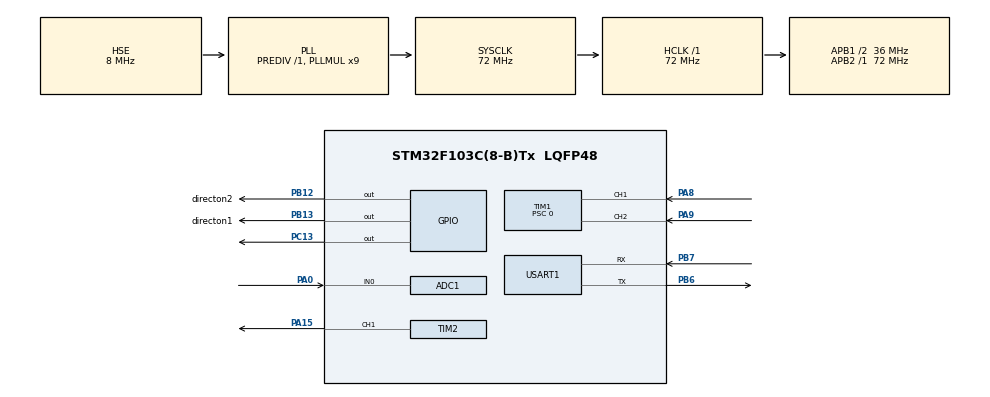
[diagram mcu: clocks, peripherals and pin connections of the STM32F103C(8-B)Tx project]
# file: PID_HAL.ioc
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ADC1.Channel-0\#ChannelRegularConversion=ADC_CHANNEL_0
ADC1.ContinuousConvMode=ENABLE
ADC1.NbrOfConversionFlag=1
ADC1.Rank-0\#ChannelRegularConversion=1
ADC1.SamplingTime-0\#ChannelRegularConversion=ADC_SAMPLETIME_7CYCLES_5
ADC1.master=1
Dma.ADC1.0.Direction=DMA_PERIPH_TO_MEMORY
Dma.ADC1.0.Instance=DMA1_Channel1
Dma.ADC1.0.MemDataAlignment=DMA_MDATAALIGN_HALFWORD
Dma.ADC1.0.MemInc=DMA_MINC_ENABLE
Dma.ADC1.0.Mode=DMA_CIRCULAR
Dma.ADC1.0.PeriphDataAlignment=DMA_PDATAALIGN_HALFWORD
Dma.ADC1.0.PeriphInc=DMA_PINC_DISABLE
Dma.ADC1.0.Priority=DMA_PRIORITY_LOW
Dma.Request0=ADC1
Dma.Request1=USART1_TX
Dma.USART1_TX.1.Direction=DMA_MEMORY_TO_PERIPH
Dma.USART1_TX.1.Instance=DMA1_Channel4
Dma.USART1_TX.1.MemDataAlignment=DMA_MDATAALIGN_BYTE
Dma.USART1_TX.1.MemInc=DMA_MINC_ENABLE
Dma.USART1_TX.1.Mode=DMA_NORMAL
Dma.USART1_TX.1.PeriphDataAlignment=DMA_PDATAALIGN_BYTE
Dma.USART1_TX.1.PeriphInc=DMA_PINC_DISABLE
Dma.USART1_TX.1.Priority=DMA_PRIORITY_LOW
Mcu.Family=STM32F1
Mcu.Name=STM32F103C(8-B)Tx
Mcu.Package=LQFP48
NVIC.DMA1_Channel4_IRQn=true\:0\:0\:false\:false\:true\:true\:true\:true
NVIC.PriorityGroup=NVIC_PRIORITYGROUP_4
NVIC.TIM2_IRQn=true\:0\:0\:false\:false\:true\:true\:true\:true
NVIC.TIM3_IRQn=true\:0\:0\:false\:false\:true\:true\:true\:true
NVIC.USART1_IRQn=true\:0\:0\:false\:false\:true\:true\:true\:true
PA0-WKUP.Signal=ADCx_IN0
PA13.Mode=Serial_Wire
PA13.Signal=SYS_JTMS-SWDIO
PA14.Mode=Serial_Wire
PA14.Signal=SYS_JTCK-SWCLK
PA15.Signal=S_TIM2_CH1_ETR
PA8.Signal=S_TIM1_CH1
PA9.Signal=S_TIM1_CH2
PB12.GPIO_Label=directon2
PB12.GPIO_PuPd=GPIO_PULLDOWN
PB12.Signal=GPIO_Output
PB13.GPIO_Label=directon1
PB13.GPIO_PuPd=GPIO_PULLDOWN
PB13.Signal=GPIO_Output
PB6.Mode=Asynchronous
PB6.Signal=USART1_TX
PB7.Mode=Asynchronous
PB7.Signal=USART1_RX
PC13-TAMPER-RTC.Signal=GPIO_Output
PD0-OSC_IN.Mode=HSE-External-Oscillator
PD0-OSC_IN.Signal=RCC_OSC_IN
PD1-OSC_OUT.Mode=HSE-External-Oscillator
PD1-OSC_OUT.Signal=RCC_OSC_OUT
ProjectManager.HeapSize=0x200
ProjectManager.StackSize=0x400
ProjectManager.TargetToolchain=MDK-ARM V5.32
RCC.ADCPresc=RCC_ADCPCLK2_DIV6
RCC.AHBFreq_Value=72000000
RCC.APB1CLKDivider=RCC_HCLK_DIV2
RCC.APB1Freq_Value=36000000
RCC.APB1TimFreq_Value=72000000
RCC.APB2Freq_Value=72000000
RCC.APB2TimFreq_Value=72000000
RCC.HCLKFreq_Value=72000000
RCC.PLLMUL=RCC_PLL_MUL9
RCC.PLLSourceVirtual=RCC_PLLSOURCE_HSE
RCC.SYSCLKFreq_VALUE=72000000
RCC.SYSCLKSource=RCC_SYSCLKSOURCE_PLLCLK
RCC.USBFreq_Value=72000000
SH.ADCx_IN0.0=ADC1_IN0,IN0
SH.S_TIM1_CH1.0=TIM1_CH1,Encoder_Interface
SH.S_TIM1_CH2.0=TIM1_CH2,Encoder_Interface
SH.S_TIM2_CH1_ETR.0=TIM2_CH1,PWM Generation1 CH1
TIM1.EncoderMode=TIM_ENCODERMODE_TI12
TIM1.Period=65535
TIM1.Prescaler=0
TIM2.AutoReloadPreload=TIM_AUTORELOAD_PRELOAD_ENABLE
TIM2.Channel-PWM\ Generation1\ CH1=TIM_CHANNEL_1
TIM2.Period=100-1
TIM2.Prescaler=72-1
TIM2.Pulse-PWM\ Generation1\ CH1=30-1
TIM3.Period=1000-1
TIM3.Prescaler=720-1
USART1.VirtualMode=VM_ASYNC
VP_TIM2_VS_ClockSourceINT.Mode=Internal
VP_TIM3_VS_ClockSourceINT.Mode=Internal
board=custom

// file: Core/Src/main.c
/* USER CODE BEGIN Header */
/**
  ******************************************************************************
  * @file           : main.c
  * @brief          : Main program body
  ******************************************************************************
  * @attention
  *
  * Copyright (c) 2026 STMicroelectronics.
  * All rights reserved.
  *
  * This software is licensed under terms that can be found in the LICENSE file
  * in the root directory of this software component.
  * If no LICENSE file comes with this software, it is provided AS-IS.
  *
  ******************************************************************************
  */
/* USER CODE END Header */
#include "main.h"
#include "adc.h"
#include "dma.h"
#include "tim.h"
#include "usart.h"
#include "gpio.h"

/* USER CODE BEGIN Includes */
#include "stdio.h"
#include "math.h"
/* USER CODE END Includes */

/* USER CODE BEGIN PD */
#define a 0.7
#define middle angle 170
/* USER CODE END PD */

/* USER CODE BEGIN PV */
int16_t moter_speed = 0;
uint8_t num = 0;
uint16_t ADC_value = 0;
uint16_t angle = 0;
//float target,actual,out;
//float kp =0.3,ki=0.15,kd=0.1;
//位置式PID
//float error0,error1,errorint;
//增量式PID
//float error0,error1,error2;
//双环串级PID
float interror1,interror0,interrorint,inttarget,intactual,intout;
float intkp=0.4,intki=0.05,intkd=0;
float exterror1,exterror0,exterrorint,exttarget,extactual,extout;
float extkp=0.2,extki=0,extkd=0;
int8_t duty;
int16_t location = 0;

/* USER CODE END PV */

void SystemClock_Config(void);

/* USER CODE BEGIN 0 */

//电机控制
void motor_set_pwm(int8_t PWM)//范围0-99
{
	if(PWM >= 0)
	{
		HAL_GPIO_WritePin(GPIOB,GPIO_PIN_13,GPIO_PIN_SET);
		HAL_GPIO_WritePin(GPIOB,GPIO_PIN_12,GPIO_PIN_RESET);
		__HAL_TIM_SET_COMPARE(&htim2, TIM_CHANNEL_1,PWM);
	}
	else
	{
		HAL_GPIO_WritePin(GPIOB,GPIO_PIN_13,GPIO_PIN_RESET);
		HAL_GPIO_WritePin(GPIOB,GPIO_PIN_12,GPIO_PIN_SET);
		__HAL_TIM_SET_COMPARE(&htim2, TIM_CHANNEL_1,-PWM);
	}
}

//串口回调函数
void HAL_UART_RxCpltCallback(UART_HandleTypeDef *huart)
{
	if(huart == &huart1)
	{
		// 将ASCII数字字符转为数值：'0'→0, '1'→1, ..., '9'→9
		duty = num - '0';
		HAL_UART_Receive_IT(&huart1, &num,1);

	}
}

//printf重定向
int fputc(int ch, FILE *f) {
HAL_UART_Transmit(&huart1, (uint8_t *)&ch, 1, HAL_MAX_DELAY);
return ch;
}

//定时器回调函数
void HAL_TIM_PeriodElapsedCallback(TIM_HandleTypeDef *htim)
{
		if(htim ==&htim3){
//编码器代码
//			int16_t data = 0;
			moter_speed = __HAL_TIM_GET_COUNTER(&htim1);
//			data = (1-a)*moter_speed + a*data;
				__HAL_TIM_SET_COUNTER(&htim1,0);

//位置式PID
//			target = duty*11;
//			actual = moter_speed;
//			error1 = error0;
//			error0 = target - actual;
//			errorint += error0;
//			out = kp*error0 + ki*errorint + kd*(error0-error1);
//			if(out > 99){	out = 99;}
//			if(out < -99){out = -99;}
////			if(0< out<3){out = 3;}
////			if(-3<out<0){out = -3;}
//			motor_set_pwm(out);
//增量式PID
//			target = duty*11.6;
//			actual = data;
//			error2 = error1;
//			error1 = error0;
//			error0 = target - actual;
//			out += kp*(error0-error1) + ki*error0 + kd*(error0-2*error1+error2);
//			if(out > 99){	out = 99;}
//			if(out < -99){out = -99;}
//			motor_set_pwm(out);
//增量式定位置
//			target = duty*11;
//			actual += data;
//			error2 = error1;
//			error1 = error0;
//			error0 = target - actual;
//			out += kp*(error0-error1) + ki*error0 + kd*(error0-2*error1+error2);
//			if(out > 99){	out = 99;}
//			if(out < -99){out = -99;}
//			motor_set_pwm(out);

//位置式定位置,积分分离
//			target = duty*11;
//			actual += data;
//			error1 = error0;
//			error0 = target - actual;
//			if(fabs(error0)<50)
//			{errorint += error0;}
//			else
//			{errorint = 0;}
//
//			out = kp*error0 + ki*errorint + kd*(error0-error1);
//			if(out > 99){	out = 99;}
//			if(out < -99){out = -99;}
//			motor_set_pwm(out);
//双环串级PID
//外环位置环
			exttarget = 0;
			extactual += moter_speed;
			exterror1 = exterror0;
			exterror0 = exttarget - extactual;
			exterrorint += exterror0;
			extout = extkp*exterror0+extki*exterrorint+extkd*(exterror0-exterror1);
			if(extout > 110){extout = 110;}
			if(extout < -110){extout = -110;}
//内环速度环
			inttarget = extout;
			intactual = moter_speed;
			interror1 = interror0;
			interror0 = inttarget - intactual;
			interrorint +=interror0;
			intout = intkp*interror0 + intki*interrorint + intkd*(interror0-interror1);
			if(intout > 90){intout = 90;}
			if(intout < -90){intout = -90;}
			motor_set_pwm(intout);
//串口发送数据
			printf("%d\n",angle);
//			printf("%f,%f,%f\n",target,actual,out);

//角度传感器
			angle = ((uint32_t)ADC_value * 360) / 4095;
// 			printf("%d\n",angle);
		}

}
/* USER CODE END 0 */

int main(void)
{

  /* MCU Configuration--------------------------------------------------------*/

  /* Reset of all peripherals, Initializes the Flash interface and the Systick. */
  HAL_Init();

  /* Configure the system clock */
  SystemClock_Config();

  /* Initialize all configured peripherals */
  MX_GPIO_Init();
  MX_DMA_Init();
  MX_TIM1_Init();
  MX_TIM2_Init();
  MX_TIM3_Init();
  MX_USART1_UART_Init();
  MX_ADC1_Init();
  /* USER CODE BEGIN 2 */
	//启动ADC自动校准程序
	HAL_ADCEx_Calibration_Start(&hadc1);
// 启动ADC
	HAL_ADC_Start_DMA(&hadc1,(uint32_t*)&ADC_value,1);
//开启编码器
	HAL_TIM_Encoder_Start(&htim1,TIM_CHANNEL_ALL);
//开启PWM
	HAL_TIM_PWM_Start(&htim2,TIM_CHANNEL_1);
//开启串口中断接收
HAL_UART_Receive_IT(&huart1, &num,1);
//开启定时器3的中断
HAL_TIM_Base_Start_IT(&htim3);

  /* USER CODE END 2 */

  /* Infinite loop */
  /* USER CODE BEGIN WHILE */
  while (1)
  {
		if(duty == 0)
		{

		}
    /* USER CODE END WHILE */

  }
}

void SystemClock_Config(void)
{
  RCC_OscInitTypeDef RCC_OscInitStruct = {0};
  RCC_ClkInitTypeDef RCC_ClkInitStruct = {0};
  RCC_PeriphCLKInitTypeDef PeriphClkInit = {0};

  /** Initializes the RCC Oscillators according to the specified parameters
  * in the RCC_OscInitTypeDef structure.
  */
  RCC_OscInitStruct.OscillatorType = RCC_OSCILLATORTYPE_HSE;
  RCC_OscInitStruct.HSEState = RCC_HSE_ON;
  RCC_OscInitStruct.HSEPredivValue = RCC_HSE_PREDIV_DIV1;
  RCC_OscInitStruct.HSIState = RCC_HSI_ON;
  RCC_OscInitStruct.PLL.PLLState = RCC_PLL_ON;
  RCC_OscInitStruct.PLL.PLLSource = RCC_PLLSOURCE_HSE;
  RCC_OscInitStruct.PLL.PLLMUL = RCC_PLL_MUL9;
  if (HAL_RCC_OscConfig(&RCC_OscInitStruct) != HAL_OK)
  {
    Error_Handler();
  }

  /** Initializes the CPU, AHB and APB buses clocks
  */
  RCC_ClkInitStruct.ClockType = RCC_CLOCKTYPE_HCLK|RCC_CLOCKTYPE_SYSCLK
                              |RCC_CLOCKTYPE_PCLK1|RCC_CLOCKTYPE_PCLK2;
  RCC_ClkInitStruct.SYSCLKSource = RCC_SYSCLKSOURCE_PLLCLK;
  RCC_ClkInitStruct.AHBCLKDivider = RCC_SYSCLK_DIV1;
  RCC_ClkInitStruct.APB1CLKDivider = RCC_HCLK_DIV2;
  RCC_ClkInitStruct.APB2CLKDivider = RCC_HCLK_DIV1;

  if (HAL_RCC_ClockConfig(&RCC_ClkInitStruct, FLASH_LATENCY_2) != HAL_OK)
  {
    Error_Handler();
  }
  PeriphClkInit.PeriphClockSelection = RCC_PERIPHCLK_ADC;
  PeriphClkInit.AdcClockSelection = RCC_ADCPCLK2_DIV6;
  if (HAL_RCCEx_PeriphCLKConfig(&PeriphClkInit) != HAL_OK)
  {
    Error_Handler();
  }
}

void Error_Handler(void)
{
  __disable_irq();
  while (1)
  {
  }
}
